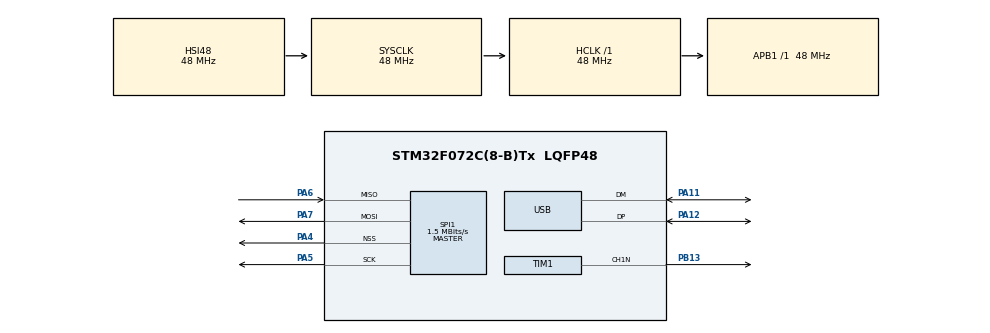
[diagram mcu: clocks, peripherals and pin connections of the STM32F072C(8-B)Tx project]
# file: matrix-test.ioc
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Dma.Request0=SPI1_TX
Dma.SPI1_TX.0.Direction=DMA_MEMORY_TO_PERIPH
Dma.SPI1_TX.0.Instance=DMA1_Channel3
Dma.SPI1_TX.0.MemDataAlignment=DMA_MDATAALIGN_BYTE
Dma.SPI1_TX.0.MemInc=DMA_MINC_ENABLE
Dma.SPI1_TX.0.Mode=DMA_NORMAL
Dma.SPI1_TX.0.PeriphDataAlignment=DMA_PDATAALIGN_BYTE
Dma.SPI1_TX.0.PeriphInc=DMA_PINC_DISABLE
Dma.SPI1_TX.0.Priority=DMA_PRIORITY_LOW
Mcu.Family=STM32F0
Mcu.Name=STM32F072C(8-B)Tx
Mcu.Package=LQFP48
NVIC.DMA1_Channel2_3_IRQn=true\:0\:0\:false\:false\:true\:false\:true
NVIC.TIM1_BRK_UP_TRG_COM_IRQn=true\:0\:0\:false\:false\:true\:true\:true
PA11.Mode=Device
PA11.Signal=USB_DM
PA12.Mode=Device
PA12.Signal=USB_DP
PA13.Mode=Serial_Wire
PA13.Signal=SYS_SWDIO
PA14.Mode=Serial_Wire
PA14.Signal=SYS_SWCLK
PA4.Mode=NSS_Signal_Hard_Output
PA4.Signal=SPI1_NSS
PA5.Mode=Full_Duplex_Master
PA5.Signal=SPI1_SCK
PA6.Mode=Full_Duplex_Master
PA6.Signal=SPI1_MISO
PA7.Mode=Full_Duplex_Master
PA7.Signal=SPI1_MOSI
PB13.Mode=PWM Generation1 CH1N
PB13.Signal=TIM1_CH1N
ProjectManager.HeapSize=0x200
ProjectManager.StackSize=0x400
ProjectManager.TargetToolchain=Makefile
RCC.AHBFreq_Value=48000000
RCC.APB1Freq_Value=48000000
RCC.APB1TimFreq_Value=48000000
RCC.HCLKFreq_Value=48000000
RCC.SYSCLKFreq_VALUE=48000000
RCC.SYSCLKSource=RCC_SYSCLKSOURCE_HSI48
SPI1.BaudRatePrescaler=SPI_BAUDRATEPRESCALER_32
SPI1.CalculateBaudRate=1.5 MBits/s
SPI1.DataSize=SPI_DATASIZE_8BIT
SPI1.Direction=SPI_DIRECTION_2LINES
SPI1.Mode=SPI_MODE_MASTER
SPI1.VirtualNSS=VM_NSSHARD
SPI1.VirtualType=VM_MASTER
TIM1.Channel-PWM\ Generation1\ CH1N=TIM_CHANNEL_1
TIM1.ClockDivision=TIM_CLOCKDIVISION_DIV1
TIM1.Period=255
TIM1.Pulse-PWM\ Generation1\ CH1N=127
VP_TIM1_VS_ClockSourceINT.Mode=Internal
board=custom

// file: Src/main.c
/* USER CODE BEGIN Header */
/**
  ******************************************************************************
  * @file           : main.c
  * @brief          : Main program body
  ******************************************************************************
  * @attention
  *
  * <h2><center>&copy; Copyright (c) 2020 STMicroelectronics.
  * All rights reserved.</center></h2>
  *
  * This software component is licensed by ST under BSD 3-Clause license,
  * the "License"; You may not use this file except in compliance with the
  * License. You may obtain a copy of the License at:
  *                        opensource.org/licenses/BSD-3-Clause
  *
  ******************************************************************************
  */
/* USER CODE END Header */

#include "main.h"
#include <math.h>

/* USER CODE BEGIN PTD */
#define FBDEPH 4
#define FBDEPHPOW 16
/* USER CODE END PTD */

SPI_HandleTypeDef hspi1;
DMA_HandleTypeDef hdma_spi1_tx;

TIM_HandleTypeDef htim1;

/* USER CODE BEGIN PV */
uint8_t modCnt = 0;
uint16_t fbuf[FBDEPH][8];
uint16_t cbuf[5]={0x0b07,   //scanLimit no limit
                  0x0900,   //decode mode none
                  0x0c01,   //shutdown off
                  0x0f00,   //display test off
                  0x0a0a};  //intensity max
int16_t color;
uint64_t lastTick;
uint32_t tickTime;
/* USER CODE END PV */

void SystemClock_Config(void);
static void MX_GPIO_Init(void);
static void MX_DMA_Init(void);
static void MX_SPI1_Init(void);
static void MX_TIM1_Init(void);
/* USER CODE BEGIN PFP */
void setPixel(uint8_t x, uint8_t y, int16_t c);
/* USER CODE END PFP */

int main(void)
{

  /* MCU Configuration--------------------------------------------------------*/

  /* Reset of all peripherals, Initializes the Flash interface and the Systick. */
  HAL_Init();

  /* Configure the system clock */
  SystemClock_Config();

  /* Initialize all configured peripherals */
  MX_GPIO_Init();
  MX_DMA_Init();
  MX_SPI1_Init();
  MX_TIM1_Init();
  /* USER CODE BEGIN 2 */
  HAL_SPI_Init(&hspi1);
  HAL_SPI_Transmit_DMA(&hspi1,cbuf,5);

  for(uint8_t i = 1; i <= 8; i++){
    for(uint8_t j = 0; j <= FBDEPH-1; j++){
      fbuf[j][i-1] = (i << 8);
    }
  }

  HAL_TIM_Base_Start_IT(&htim1);
  HAL_TIMEx_PWMN_Start(&htim1,TIM_CHANNEL_1);

  /* USER CODE END 2 */

  /* Infinite loop */
  /* USER CODE BEGIN WHILE */
  while (1)
  {
    lastTick = HAL_GetTick();
    for(uint8_t x = 0; x <= 7; x++){
      for(uint8_t y = 0; y <= 7; y++){
        color = 8.0 + sin((10.0*(((x-4)/8.0)*sin(HAL_GetTick()/500.0)+((y-4)/8.0)*cos(HAL_GetTick()/300.0)))+HAL_GetTick()/10000.0)*8;
        //color = x*64;
        setPixel(x,y,color);
      }
    }
    tickTime = HAL_GetTick() - lastTick;
    //HAL_SPI_Transmit_DMA(&hspi1,fbuf,8);
    /* USER CODE END WHILE */

  }
}

void SystemClock_Config(void)
{
  RCC_OscInitTypeDef RCC_OscInitStruct = {0};
  RCC_ClkInitTypeDef RCC_ClkInitStruct = {0};
  RCC_PeriphCLKInitTypeDef PeriphClkInit = {0};

  /** Initializes the CPU, AHB and APB busses clocks
  */
  RCC_OscInitStruct.OscillatorType = RCC_OSCILLATORTYPE_HSI48;
  RCC_OscInitStruct.HSI48State = RCC_HSI48_ON;
  RCC_OscInitStruct.PLL.PLLState = RCC_PLL_NONE;
  if (HAL_RCC_OscConfig(&RCC_OscInitStruct) != HAL_OK)
  {
    Error_Handler();
  }
  /** Initializes the CPU, AHB and APB busses clocks
  */
  RCC_ClkInitStruct.ClockType = RCC_CLOCKTYPE_HCLK|RCC_CLOCKTYPE_SYSCLK
                              |RCC_CLOCKTYPE_PCLK1;
  RCC_ClkInitStruct.SYSCLKSource = RCC_SYSCLKSOURCE_HSI48;
  RCC_ClkInitStruct.AHBCLKDivider = RCC_SYSCLK_DIV1;
  RCC_ClkInitStruct.APB1CLKDivider = RCC_HCLK_DIV1;

  if (HAL_RCC_ClockConfig(&RCC_ClkInitStruct, FLASH_LATENCY_1) != HAL_OK)
  {
    Error_Handler();
  }
  PeriphClkInit.PeriphClockSelection = RCC_PERIPHCLK_USB;
  PeriphClkInit.UsbClockSelection = RCC_USBCLKSOURCE_HSI48;

  if (HAL_RCCEx_PeriphCLKConfig(&PeriphClkInit) != HAL_OK)
  {
    Error_Handler();
  }
}

static void MX_SPI1_Init(void)
{

  /* SPI1 parameter configuration*/
  hspi1.Instance = SPI1;
  hspi1.Init.Mode = SPI_MODE_MASTER;
  hspi1.Init.Direction = SPI_DIRECTION_2LINES;
  hspi1.Init.DataSize = SPI_DATASIZE_16BIT;
  hspi1.Init.CLKPolarity = SPI_POLARITY_LOW;
  hspi1.Init.CLKPhase = SPI_PHASE_1EDGE;
  hspi1.Init.NSS = SPI_NSS_HARD_OUTPUT;
  hspi1.Init.BaudRatePrescaler = SPI_BAUDRATEPRESCALER_8;
  hspi1.Init.FirstBit = SPI_FIRSTBIT_MSB;
  hspi1.Init.TIMode = SPI_TIMODE_DISABLE;
  hspi1.Init.CRCCalculation = SPI_CRCCALCULATION_DISABLE;
  hspi1.Init.CRCPolynomial = 7;
  hspi1.Init.CRCLength = SPI_CRC_LENGTH_DATASIZE;
  hspi1.Init.NSSPMode = SPI_NSS_PULSE_ENABLE;
  if (HAL_SPI_Init(&hspi1) != HAL_OK)
  {
    Error_Handler();
  }

}

static void MX_TIM1_Init(void)
{

  TIM_ClockConfigTypeDef sClockSourceConfig = {0};
  TIM_MasterConfigTypeDef sMasterConfig = {0};
  TIM_OC_InitTypeDef sConfigOC = {0};
  TIM_BreakDeadTimeConfigTypeDef sBreakDeadTimeConfig = {0};

  htim1.Instance = TIM1;
  htim1.Init.Prescaler = 2000;
  htim1.Init.CounterMode = TIM_COUNTERMODE_UP;
  htim1.Init.Period = 99;
  htim1.Init.ClockDivision = TIM_CLOCKDIVISION_DIV1;
  htim1.Init.RepetitionCounter = 0;
  htim1.Init.AutoReloadPreload = TIM_AUTORELOAD_PRELOAD_DISABLE;
  if (HAL_TIM_Base_Init(&htim1) != HAL_OK)
  {
    Error_Handler();
  }
  sClockSourceConfig.ClockSource = TIM_CLOCKSOURCE_INTERNAL;
  if (HAL_TIM_ConfigClockSource(&htim1, &sClockSourceConfig) != HAL_OK)
  {
    Error_Handler();
  }
  if (HAL_TIM_PWM_Init(&htim1) != HAL_OK)
  {
    Error_Handler();
  }
  sMasterConfig.MasterOutputTrigger = TIM_TRGO_RESET;
  sMasterConfig.MasterSlaveMode = TIM_MASTERSLAVEMODE_DISABLE;
  if (HAL_TIMEx_MasterConfigSynchronization(&htim1, &sMasterConfig) != HAL_OK)
  {
    Error_Handler();
  }
  sConfigOC.OCMode = TIM_OCMODE_PWM1;
  sConfigOC.Pulse = 50;
  sConfigOC.OCPolarity = TIM_OCPOLARITY_HIGH;
  sConfigOC.OCNPolarity = TIM_OCNPOLARITY_HIGH;
  sConfigOC.OCFastMode = TIM_OCFAST_DISABLE;
  sConfigOC.OCIdleState = TIM_OCIDLESTATE_RESET;
  sConfigOC.OCNIdleState = TIM_OCNIDLESTATE_RESET;
  if (HAL_TIM_PWM_ConfigChannel(&htim1, &sConfigOC, TIM_CHANNEL_1) != HAL_OK)
  {
    Error_Handler();
  }
  sBreakDeadTimeConfig.OffStateRunMode = TIM_OSSR_DISABLE;
  sBreakDeadTimeConfig.OffStateIDLEMode = TIM_OSSI_DISABLE;
  sBreakDeadTimeConfig.LockLevel = TIM_LOCKLEVEL_OFF;
  sBreakDeadTimeConfig.DeadTime = 0;
  sBreakDeadTimeConfig.BreakState = TIM_BREAK_DISABLE;
  sBreakDeadTimeConfig.BreakPolarity = TIM_BREAKPOLARITY_HIGH;
  sBreakDeadTimeConfig.AutomaticOutput = TIM_AUTOMATICOUTPUT_DISABLE;
  if (HAL_TIMEx_ConfigBreakDeadTime(&htim1, &sBreakDeadTimeConfig) != HAL_OK)
  {
    Error_Handler();
  }
  HAL_TIM_MspPostInit(&htim1);

}

static void MX_DMA_Init(void)
{

  /* DMA controller clock enable */
  __HAL_RCC_DMA1_CLK_ENABLE();

  /* DMA interrupt init */
  /* DMA1_Channel2_3_IRQn interrupt configuration */
  HAL_NVIC_SetPriority(DMA1_Channel2_3_IRQn, 0, 0);
  HAL_NVIC_EnableIRQ(DMA1_Channel2_3_IRQn);

}

static void MX_GPIO_Init(void)
{

  /* GPIO Ports Clock Enable */
  __HAL_RCC_GPIOA_CLK_ENABLE();
  __HAL_RCC_GPIOB_CLK_ENABLE();

}

/* USER CODE BEGIN 4 */
void setPixel(uint8_t x, uint8_t y, int16_t c){
  if(x > 7 || y > 7) return;
  if(c >= FBDEPHPOW) c = FBDEPHPOW-1;
  if(c < 0) c = 0;
  //c = c & 0x01;
  uint8_t cBit;

  for(uint8_t i = 0; i <= FBDEPH-1; i++){
    cBit = c & 0x01;
    fbuf[i][y] ^= (-cBit ^ fbuf[i][y]) & (1UL << x);
    c = c >> 1;
  }
}
/* USER CODE END 4 */

void Error_Handler(void)
{
}

/************************ (C) COPYRIGHT STMicroelectronics *****END OF FILE****/
